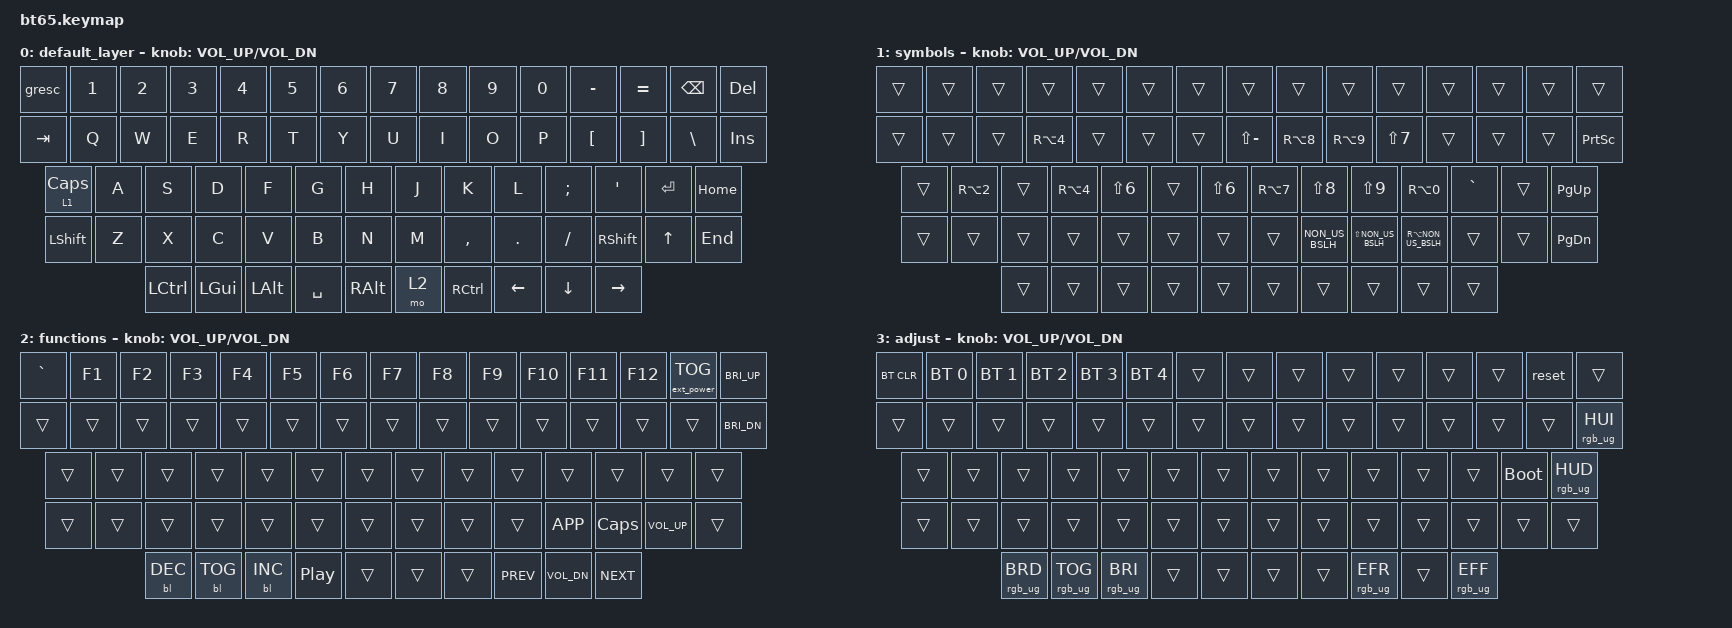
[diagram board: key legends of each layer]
#include <behaviors.dtsi>
#include <dt-bindings/zmk/keys.h>
#include <dt-bindings/zmk/bt.h>
#include <dt-bindings/zmk/rgb.h>
#include <dt-bindings/zmk/backlight.h>
#include <dt-bindings/zmk/ext_power.h>

#define DEFAULT 0
#define SYMBOLS 1
#define FUNCS   2
#define ADJUST  3

/{
    behaviors {
        gresc: grave_escape {
            compatible = "zmk,behavior-mod-morph";
            label = "GRAVE_ESCAPE";
            #binding-cells = <0>;
            bindings = <&kp ESC>, <&kp GRAVE>;
            mods = <(MOD_LALT)>;
        };
    };

    conditional_layers {
        compatible = "zmk,conditional-layers";
        tri_layer {
            if-layers = <1 2>;
            then-layer = <3>;
        };
    };

	keymap {
		compatible = "zmk,keymap";

		default_layer {
				// -------------------------------------------------------------------------------------------------
				// | ESC |  1  |  2  |  3  |  4  |  5  |  6  |  7  |  8  |  9  |  0  |  +  |  ´  |    BKSP   | DEL |
				// | TAB  |  Q  |  W  |  E  |  R  |  T  |  Y  |  U  |  I  |  O  |  P  |  Å  |  ¨  |    ''    | INS |
				// | Cps/FN1|  A  |  S  |  D  |  F  |  G  |  H  |  J  |  K  |  L  |  Ö  |  Ä  |    ENTER     | HOME|
				// | SHIFT   |  Z  |  X  |  C  |  V  |  B  |  N  |  M  |  ,  |  .  |  -  |   SHIFT      | UP | END |
				// | CTL   |  WIN  |  ALT  |            SPACE               | ALT  | FN2  |  CTL | LEFT |DOWN|RIGHT|
				// -------------------------------------------------------------------------------------------------
			bindings = <

				&gresc  &kp N1 &kp N2 &kp N3 &kp N4 &kp N5 &kp N6 &kp N7 &kp  N8   &kp  N9   &kp N0 &kp MINUS &kp EQUAL   &kp BKSP &kp DEL
				&kp TAB  &kp Q  &kp W  &kp E  &kp R  &kp T  &kp Y  &kp U  &kp  I    &kp  O  &kp  P   &kp LBKT &kp RBKT    &kp BSLH &kp INS
				&lt 1 CAPS &kp A  &kp S  &kp D  &kp F  &kp G  &kp H  &kp J  &kp K  &kp  L  &kp SEMI &kp SQT        &kp RET         &kp HOME
				&kp LSHFT &kp Z  &kp X  &kp C  &kp V  &kp B  &kp N  &kp M  &kp COMMA &kp DOT &kp FSLH     &kp RSHFT       &kp UP   &kp END
				&kp LCTRL &kp LGUI &kp LALT            &kp SPACE                      &kp RALT  &mo 2  &kp RCTRL &kp LEFT &kp DOWN &kp RIGHT
			>;
			sensor-bindings = <&inc_dec_kp C_VOL_UP C_VOL_DN>;
		};
		symbols {
                // -------------------------------------------------------------------------------------------------
                // | ESC |  1  |  2  |  3  |  4  |  5  |  6  |  7  |  8  |  9  |  0  |  -  |  =  |    BKSP   | DEL |
                // | TAB  |  Q  |  W  |  $  |  R  |  T  |  Y  |  ?  |  [  |  ]  |  /  |  Å  |  ¨  |    ''    | PrSc|
                // | Cps/FN1| @  |  S  |  $  |  &  |  G  |  {  |  (  |  )  |  }  |  Ä  |  §  |  ENTER        | PgUp|
                // | SHIFT   |  Z  |  X  |  C  |  V  |  B  |  N  |  M  |  <  |  >  |  |  |   SHIFT      | UP | PgDn|
                // | CTL   |  WIN  |  ALT  |            SPACE                | ALT | FN2  |  CTL | LEFT |DOWN|RIGHT|
                // -------------------------------------------------------------------------------------------------
			bindings = <
				&trans &trans &trans &trans &trans &trans &trans &trans &trans &trans &trans &trans &trans          &trans            &trans
				&trans  &trans &trans &kp RA(N4) &trans &trans &trans &kp LS(MINUS) &kp RA(N8) &kp RA(N9) &kp LS(N7) &trans &trans &trans &kp PSCRN
				&trans &kp RA(N2) &trans &kp RA(N4) &kp LS(N6) &trans &kp LS(N6) &kp RA(N7) &kp LS(N8) &kp LS(N9) &kp RA(N0) &kp GRAVE  &trans &kp PG_UP
				&trans   &trans &trans &trans &trans &trans &trans &trans &kp NON_US_BSLH &kp LS(NON_US_BSLH) &kp RA(NON_US_BSLH)     &trans                  &trans &kp PG_DN
				&trans   &trans    &trans                         &trans                       &trans    &trans      &trans      &trans &trans &trans
			>;
			sensor-bindings = <&inc_dec_kp C_VOL_UP C_VOL_DN>;
		};
        functions {
                // -------------------------------------------------------------------------------------------------
                // |  ~  |  F1 |  F2 |  F3 |  F4 |  F5 |  F6 |  F7 |  F8 |  F9 | F10 | F11 | F12 |   POWER   | BRUP|
                // | TAB  |  Q  |  W  |  E  |  R  |  T  |  Y  |  U  |  I  |  O  |  P  |  [  |  ]  |    \     | BRDN|
                // | C/FN2  |  A  |  S  |  D  |  F  |  G  |  H  |  J  |  K  |  L  |  ;  |  '  |   ENTER      |     |
                // | SHIFT    |  Z  |  X  |  C  |  V  |  B  |  N  |  M  |  ,  |  .  |  /  |    SHIFT   | VOLU|     |
                // | BL - |BL TOG | BL +  |             PLAY                | ALT  |  FN1 |  CTL | PREV| VOLD| NXT |
                // -------------------------------------------------------------------------------------------------
            bindings = <
                &kp GRAVE &kp F1 &kp F2 &kp F3 &kp F4 &kp F5 &kp F6 &kp F7 &kp F8 &kp F9 &kp F10 &kp F11 &kp F12  &ext_power EP_TOG  &kp C_BRI_UP
                &trans &trans &trans &trans &trans &trans &trans &trans &trans &trans &trans &trans &trans    &trans                 &kp C_BRI_DN
                &trans   &trans &trans &trans &trans &trans &trans &trans &trans &trans  &trans &trans       &trans                  &trans
                &trans    &trans &trans &trans &trans &trans &trans &trans &trans &trans &kp K_APP    &kp CAPS          &kp K_VOL_UP &trans
                &bl BL_DEC &bl BL_TOG &bl BL_INC          &kp C_PP             &trans   &trans   &trans    &kp K_PREV   &kp K_VOL_DN &kp K_NEXT
            >;
            sensor-bindings = <&inc_dec_kp C_VOL_UP C_VOL_DN>;
        };
        adjust {
                // -------------------------------------------------------------------------------------------------
                // |BTCLR| BT1 | BT2 | BT3 | BT4 | BT5 |  6  |  7  |  8  |  9  |  0  |  -  |  =  |   RESET   |     |
                // | TAB  |  Q  |  W  |  E  |  R  |  T  |  Y  |  U  |  I  |  O  |  P  |  [  |  ]  |    \     | HUI |
                // | CAPS  |  A  |  S  |  D  |  F  |  G  |  H  |  J  |  K  |  L  |  ;  |  '  |    BOOT       | HUD |
                // | SHIFT  |  Z  |  X  |  C  |  V  |  B  |  N  |  M  |  ,  |  .  |  /  |    SHIFT     | UP  |     |
                // | RGBUp | RGB-tog | RGBDn |          PLAY               | ALT |  FN2  |  CTL | LEFT | DOWN|RIGHT|
                // -------------------------------------------------------------------------------------------------
            bindings = <
                &bt BT_CLR &bt BT_SEL 0 &bt BT_SEL 1 &bt BT_SEL 2 &bt BT_SEL 3 &bt BT_SEL 4 &trans &trans &trans &trans &trans &trans &trans &reset &trans
                &trans  &trans &trans &trans &trans &trans &trans &trans &trans &trans &trans &trans &trans  &trans            &rgb_ug RGB_HUI
                &trans   &trans &trans &trans &trans &trans &trans &trans &trans &trans &trans &trans       &bootloader        &rgb_ug RGB_HUD
                &trans     &trans &trans &trans &trans &trans &trans &trans &trans &trans &trans       &trans           &trans &trans
                &rgb_ug RGB_BRD &rgb_ug RGB_TOG &rgb_ug RGB_BRI     &trans     &trans   &trans   &trans &rgb_ug RGB_EFR &trans &rgb_ug RGB_EFF
            >;
            sensor-bindings = <&inc_dec_kp C_VOL_UP C_VOL_DN>;
        };
	};
};
